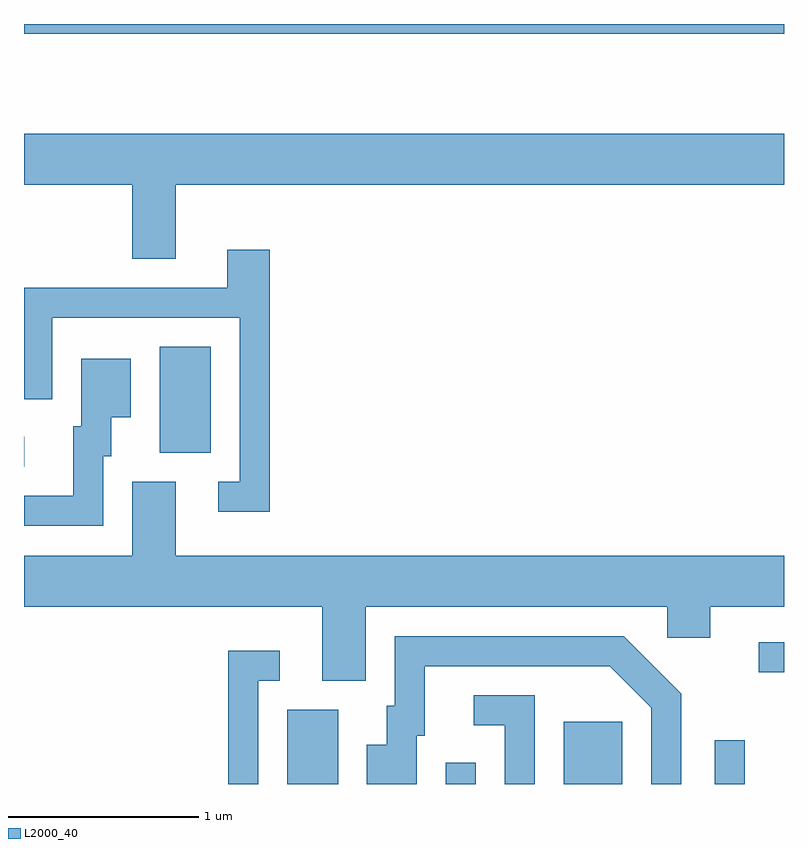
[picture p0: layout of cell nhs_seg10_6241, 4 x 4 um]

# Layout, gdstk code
import gdstk
lib = gdstk.Library(unit=1e-6, precision=1e-09)
def R(c, l, rs):  # rectangles x0, y0, x1, y1
    for r in rs: c.add(gdstk.rectangle(r[:2], r[2:], *l))
def P(c, l, *ps):  # polygons
    for p in ps: c.add(gdstk.Polygon(p, *l))
L2000_40 = (2000, 40)

nhs_seg10_6241 = lib.new_cell('nhs_seg10_6241')
R(nhs_seg10_6241, L2000_40, [(370.996,2128.522,371.264,2128.914), (371.831,2128.522,371.989,2128.633), (372.451,2128.522,372.759,2128.849), (373.246,2128.522,373.404,2128.753), (373.478,2129.111,373.611,2129.269), (369.611,2130.191,369.613,2130.349), (370.326,2130.266,370.594,2130.824), (369.611,2132.471,373.611,2132.522)])
P(nhs_seg10_6241, L2000_40, [(370.409,2131.676),(373.611,2131.676),(373.611,2131.944),(369.611,2131.944),(369.611,2131.676),(370.181,2131.676),(370.181,2131.286),(370.409,2131.286)],
  [(370.904,2131.334),(370.681,2131.334),(370.681,2131.134),(369.611,2131.134),(369.611,2130.548),(369.759,2130.548),(369.759,2130.976),(370.746,2130.976),(370.746,2130.114),(370.633,2130.114),(370.633,2129.956),(370.904,2129.956)],
  [(370.029,2130.246),(370.069,2130.246),(370.069,2130.451),(370.174,2130.451),(370.174,2130.759),(369.911,2130.759),(369.911,2130.404),(369.871,2130.404),(369.871,2130.039),(369.611,2130.039),(369.611,2129.881),(370.029,2129.881)],
  [(370.181,2130.114),(370.181,2129.724),(369.611,2129.724),(369.611,2129.456),(371.181,2129.456),(371.181,2129.066),(371.409,2129.066),(371.409,2129.456),(372.996,2129.456),(372.996,2129.291),(373.224,2129.291),(373.224,2129.456),(373.611,2129.456),(373.611,2129.724),(370.409,2129.724),(370.409,2130.114)],
  [(371.679,2128.776),(371.719,2128.776),(371.719,2129.141),(372.694,2129.141),(372.911,2128.924),(372.911,2128.522),(373.069,2128.522),(373.069,2128.997),(372.767,2129.299),(371.561,2129.299),(371.561,2128.934),(371.521,2128.934),(371.521,2128.729),(371.416,2128.729),(371.416,2128.522),(371.679,2128.522)],
  [(370.844,2129.066),(370.958,2129.066),(370.958,2129.224),(370.686,2129.224),(370.686,2128.522),(370.844,2128.522)],
  [(372.299,2128.989),(371.978,2128.989),(371.978,2128.831),(372.141,2128.831),(372.141,2128.522),(372.299,2128.522)])

lib.write_gds('nhs_seg10_6241.gds')
